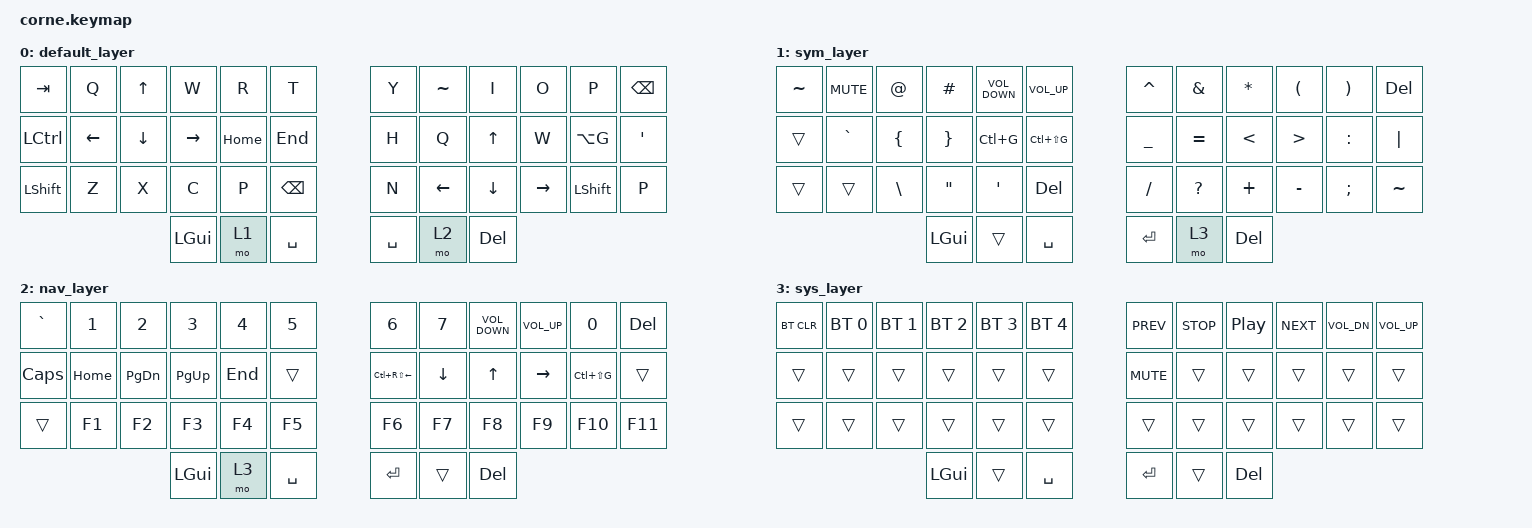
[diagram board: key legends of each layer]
/*
 * Frontend Developer Layout — Corne MX (Matvey Keyboard)
 *
 * Thumbs: [ GUI | SYM | Space ]   [ Enter | NAV | Del ]
 *
 * Layer 0: Base — QWERTY
 * Layer 1: SYM  — JS/TS/JSX/CSS: {}, [], (), <>, "", '', `, =>, ;, :, @, $, #
 * Layer 2: NAV  — Цифры, стрелки, F-клавиши
 * Layer 3: SYS  — Bluetooth + медиаклавиши (SYM + NAV одновременно)
 */

#include <behaviors.dtsi>
#include <dt-bindings/zmk/bt.h>
#include <dt-bindings/zmk/keys.h>

/ {
    macros {
        arrow: arrow {
            compatible = "zmk,behavior-macro";
            #binding-cells = <0>;
            bindings = <&kp EQUAL &kp GT>;
        };
    };

    combos {
        compatible = "zmk,combos";

        combo_ctr_shift_f_0 {
            bindings = <&kp LC(LS(F))>;
            key-positions = <0>;
        };

        combo_ctr_minus_0 {
            bindings = <&kp LC(MINUS)>;
            key-positions = <4>;
        };

        combo_ctrl_plus_0 {
            bindings = <&kp LC(PLUS)>;
            key-positions = <5>;
        };

        combo_ctrl_b_0 {
            bindings = <&kp LC(B)>;
            key-positions = <27>;
        };

        combo_ctrl_v_0 {
            bindings = <&kp LC(V)>;
            key-positions = <26>;
        };

        combo_ctrl_c_0 {
            bindings = <&kp LC(C)>;
            key-positions = <25>;
        };

        combo_ctrl_z_0 {
            bindings = <&kp LC(Z)>;
            key-positions = <12>;
        };

        combo_ctrl_b_1 {
            bindings = <&kp LC(B)>;
            key-positions = <18>;
        };

        combo_shift {
            bindings = <&kp LEFT_SHIFT>;
            key-positions = <24>;
        };

        combo_ctrl_shift_b_1 {
            bindings = <&kp LC(RS(B))>;
            key-positions = <6>;
        };

        combo_ctrl_shift_f_1 {
            bindings = <&kp LC(LS(F))>;
            key-positions = <30>;
        };

        combo+ctrl_minus_1 {
            bindings = <&kp LC(MINUS)>;
            key-positions = <8>;
        };

        combo_ctrl_plus_1 {
            bindings = <&kp LC(PLUS)>;
            key-positions = <9>;
        };

        combo_ctrl_z_1 {
            bindings = <&kp LC(Z)>;
            key-positions = <10>;
        };

        combo_ctrl_shift_t_1 {
            bindings = <&kp LC(LS(T))>;
            key-positions = <23>;
        };
    };

    keymap {
        compatible = "zmk,keymap";

        default_layer {
            // ╭──────┬─────┬─────┬─────┬─────┬─────╮   ╭─────┬─────┬─────┬─────┬─────┬──────╮
            // │ TAB  │  Q  │  W  │  E  │  R  │  T  │   │  Y  │  U  │  I  │  O  │  P  │ BSPC │
            // │ CTRL │  A  │  S  │  D  │  F  │  G  │   │  H  │  J  │  K  │  L  │  ;  │  '   │
            // │ SHFT │  Z  │  X  │  C  │  V  │  B  │   │  N  │  M  │  ,  │  .  │  /  │ ESC  │
            // ╰──────┴─────┴─────┼─────┼─────┼─────┤   ├─────┼─────┼─────┴─────┴─────┴──────╯
            //                    │ GUI │ SYM │ SPC │   │ ENT │ NAV │ DEL │
            //                    ╰─────┴─────┴─────╯   ╰─────┴─────┴─────╯

            bindings = <
&kp TAB    &kp Q     &kp UP_ARROW    &kp W            &kp R     &kp T            &kp Y      &kp TILDE       &kp I           &kp O            &kp P           &kp BSPC
&kp LCTRL  &kp LEFT  &kp DOWN_ARROW  &kp RIGHT_ARROW  &kp HOME  &kp END          &kp H      &kp Q           &kp UP_ARROW    &kp W            &kp LA(G)       &kp SQT
&kp LSHFT  &kp Z     &kp X           &kp C            &kp P     &kp BACKSPACE    &kp N      &kp LEFT_ARROW  &kp DOWN_ARROW  &kp RIGHT_ARROW  &kp LEFT_SHIFT  &kp P
                                     &kp LGUI         &mo 1     &kp SPACE        &kp SPACE  &mo 2           &kp DEL
            >;
        };

        sym_layer {
            // JS/TS/JSX/CSS symbols — оптимизировано для фронтенд-разработчика
            // ╭──────┬─────┬─────┬─────┬─────┬─────╮   ╭─────┬─────┬─────┬─────┬─────┬──────╮
            // │  ~   │  !  │  @  │  #  │  $  │  %  │   │  ^  │  &  │  *  │  (  │  )  │ DEL  │
            // │      │  `  │  {  │  }  │  [  │  ]  │   │  _  │  =  │  <  │  >  │  :  │  |   │
            // │      │     │  \  │  "  │  '  │ =>  │   │  /  │  ?  │  +  │  -  │  ;  │  ~   │
            // ╰──────┴─────┴─────┼─────┼─────┼─────┤   ├─────┼─────┼─────┴─────┴─────┴──────╯
            //                    │ GUI │ --- │ SPC │   │ ENT │ SYS │ DEL │
            //                    ╰─────┴─────┴─────╯   ╰─────┴─────┴─────╯
            //
            // <> на home row правой руки — JSX-теги (<div>), дженерики TS (Array<T>)
            // {}, [] на home row левой руки — объекты, деструктуризация, массивы
            // `  на home row левой руки — template literals (`${...}`)
            // => на нижнем ряду — стрелочные функции (const f = () => {})
            // "", '' на нижнем ряду — строки; : и ; на home row/нижнем ряду — типы TS, конец выражения

            bindings = <
&kp TILDE  &kp K_MUTE  &kp AT    &kp HASH  &kp C_VOLUME_DOWN  &kp C_VOLUME_UP    &kp CARET  &kp AMPS   &kp ASTRK  &kp LPAR   &kp RPAR   &kp DEL
&trans     &kp GRAVE   &kp LBRC  &kp RBRC  &kp LC(G)          &kp LC(LS(G))      &kp UNDER  &kp EQUAL  &kp LT     &kp GT     &kp COLON  &kp PIPE
&trans     &trans      &kp BSLH  &kp DQT   &kp SQT            &kp DELETE         &kp FSLH   &kp QMARK  &kp PLUS   &kp MINUS  &kp SEMI   &kp TILDE
                                 &kp LGUI  &trans             &kp SPACE          &kp RET    &mo 3      &kp DEL
            >;
        };

        nav_layer {
            // ╭──────┬─────┬─────┬─────┬─────┬─────╮   ╭─────┬─────┬─────┬─────┬─────┬──────╮
            // │  `   │  1  │  2  │  3  │  4  │  5  │   │  6  │  7  │  8  │  9  │  0  │ DEL  │
            // │ CAPS │HOME │ PgDn│ PgUp│ END │     │   │  ←  │  ↓  │  ↑  │  →  │ F12 │      │
            // │      │ F1  │ F2  │ F3  │ F4  │ F5  │   │ F6  │ F7  │ F8  │ F9  │ F10 │ F11  │
            // ╰──────┴─────┴─────┼─────┼─────┼─────┤   ├─────┼─────┼─────┴─────┴─────┴──────╯
            //                    │ GUI │ SYS │ SPC │   │ ENT │ --- │ DEL │
            //                    ╰─────┴─────┴─────╯   ╰─────┴─────┴─────╯
            //
            // Стрелки: H/J/K/L (vim-style) — ← ↓ ↑ →
            // F12 на home row: быстрый доступ для отладчика/Go to Definition в IDE

            bindings = <
&kp GRAVE  &kp N1    &kp N2     &kp N3     &kp N4   &kp N5       &kp N6            &kp N7    &kp C_VOLUME_DOWN  &kp C_VOLUME_UP  &kp N0         &kp DEL
&kp CLCK   &kp HOME  &kp PG_DN  &kp PG_UP  &kp END  &trans       &kp LC(RS(LEFT))  &kp DOWN  &kp UP             &kp RIGHT        &kp LC(LS(G))  &trans
&trans     &kp F1    &kp F2     &kp F3     &kp F4   &kp F5       &kp F6            &kp F7    &kp F8             &kp F9           &kp F10        &kp F11
                                &kp LGUI   &mo 3    &kp SPACE    &kp RET           &trans    &kp DEL
            >;
        };

        sys_layer {
            // BLE управление + медиаклавиши (SYM + NAV одновременно)
            // ╭──────┬─────┬─────┬─────┬─────┬─────╮   ╭─────┬─────┬─────┬─────┬─────┬──────╮
            // │BTCLR │ BT1 │ BT2 │ BT3 │ BT4 │ BT5 │   │PREV │STOP │ PP  │NEXT │VOL- │ VOL+ │
            // │      │     │     │     │     │     │   │MUTE │     │     │     │     │      │
            // │      │     │     │     │     │     │   │     │     │     │     │     │      │
            // ╰──────┴─────┴─────┼─────┼─────┼─────┤   ├─────┼─────┼─────┴─────┴─────┴──────╯
            //                    │ GUI │ --- │ SPC │   │ ENT │ --- │ DEL │
            //                    ╰─────┴─────┴─────╯   ╰─────┴─────┴─────╯
            //
            // PP — Play/Pause; PREV/NEXT — предыдущий/следующий трек; VOL-/VOL+ — громкость

            bindings = <
&bt BT_CLR  &bt BT_SEL 0  &bt BT_SEL 1  &bt BT_SEL 2  &bt BT_SEL 3  &bt BT_SEL 4    &kp C_PREV  &kp C_STOP  &kp C_PP  &kp C_NEXT  &kp C_VOL_DN  &kp C_VOL_UP
&trans      &trans        &trans        &trans        &trans        &trans          &kp C_MUTE  &trans      &trans    &trans      &trans        &trans
&trans      &trans        &trans        &trans        &trans        &trans          &trans      &trans      &trans    &trans      &trans        &trans
                                        &kp LGUI      &trans        &kp SPACE       &kp RET     &trans      &kp DEL
            >;
        };
    };
};

/* nice!view использует SPI0; Corne-оверлей включает I2C0 (OLED) после nice_view_adapter.
   Keymap идёт последним оверлеем, поэтому здесь:
   1) отключаем I2C0 (иначе конфликт SPI0/TWIM0 на одном хардварном инстансе)
   2) явно возвращаем chosen display на nice_view (SPI), т.к. Corne-оверлей
      переопределяет zephyr,display обратно на OLED (дочернее устройство I2C0,
      которое не компилируется при disabled шине → undefined reference) */

&i2c0 { status = "disabled"; };

/ {
    chosen { zephyr,display = &nice_view; };
};
